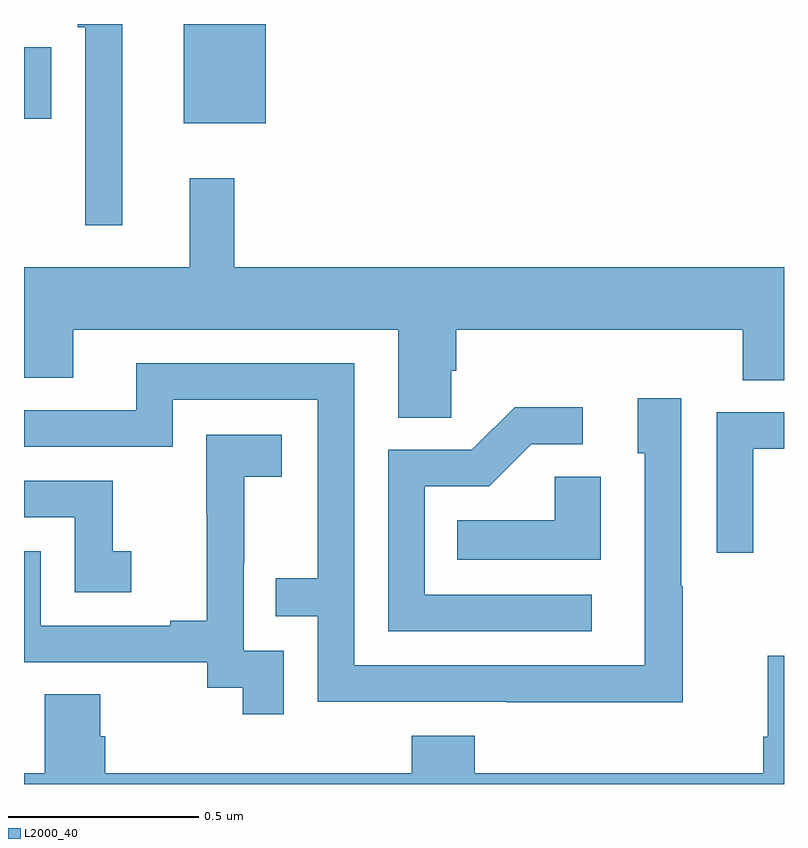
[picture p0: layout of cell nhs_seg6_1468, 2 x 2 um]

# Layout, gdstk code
import gdstk
lib = gdstk.Library(unit=1e-6, precision=1e-09)
def R(c, l, rs):  # rectangles x0, y0, x1, y1
    for r in rs: c.add(gdstk.rectangle(r[:2], r[2:], *l))
def P(c, l, *ps):  # polygons
    for p in ps: c.add(gdstk.Polygon(p, *l))
L2000_40 = (2000, 40)

nhs_seg6_1468 = lib.new_cell('nhs_seg6_1468')
R(nhs_seg6_1468, L2000_40, [(130.421,921.239,130.636,921.5), (130,921.251,130.072,921.439)])
P(nhs_seg6_1468, L2000_40, [(130.258,921.5),(130.141,921.5),(130.141,921.491),(130.161,921.491),(130.161,920.97),(130.258,920.97)],
  [(131.124,920.587),(131.138,920.587),(131.138,920.696),(131.891,920.696),(131.891,920.563),(132,920.563),(132,920.86),(130.553,920.86),(130.553,921.094),(130.436,921.094),(130.436,920.86),(130,920.86),(130,920.569),(130.129,920.569),(130.129,920.696),(130.985,920.696),(130.985,920.464),(131.124,920.464)],
  [(131.733,920.021),(131.73,920.021),(131.73,920.515),(131.615,920.515),(131.615,920.37),(131.634,920.37),(131.634,919.812),(130.869,919.812),(130.869,920.607),(130.295,920.607),(130.295,920.484),(130,920.484),(130,920.388),(130.392,920.388),(130.392,920.511),(130.773,920.511),(130.773,920.042),(130.663,920.042),(130.663,919.941),(130.773,919.941),(130.773,919.716),(131.269,919.716),(131.269,919.715),(131.733,919.715)],
  [(131.494,919.998),(131.055,919.998),(131.055,920.283),(131.224,920.283),(131.335,920.394),(131.47,920.394),(131.47,920.492),(131.291,920.492),(131.178,920.379),(130.959,920.379),(130.959,919.902),(131.494,919.902)],
  [(131.919,920.382),(132,920.382),(132,920.478),(131.823,920.478),(131.823,920.109),(131.919,920.109)],
  [(130.683,919.851),(130.578,919.851),(130.578,920.081),(130.58,920.081),(130.58,920.309),(130.678,920.309),(130.678,920.419),(130.48,920.419),(130.48,920.213),(130.481,920.213),(130.481,919.93),(130.385,919.93),(130.385,919.917),(130.044,919.917),(130.044,920.112),(130,920.112),(130,919.821),(130.482,919.821),(130.482,919.753),(130.575,919.753),(130.575,919.683),(130.683,919.683)],
  [(131.518,920.309),(131.397,920.309),(131.397,920.194),(131.14,920.194),(131.14,920.09),(131.518,920.09)],
  [(130.282,920.113),(130.233,920.113),(130.233,920.298),(130,920.298),(130,920.202),(130.134,920.202),(130.134,920.004),(130.282,920.004)],
  [(132,919.837),(131.957,919.837),(131.957,919.624),(131.945,919.624),(131.945,919.528),(131.186,919.528),(131.186,919.627),(131.021,919.627),(131.021,919.528),(130.214,919.528),(130.214,919.626),(130.201,919.626),(130.201,919.736),(130.054,919.736),(130.054,919.528),(130,919.528),(130,919.5),(132,919.5)])

lib.write_gds('nhs_seg6_1468.gds')
